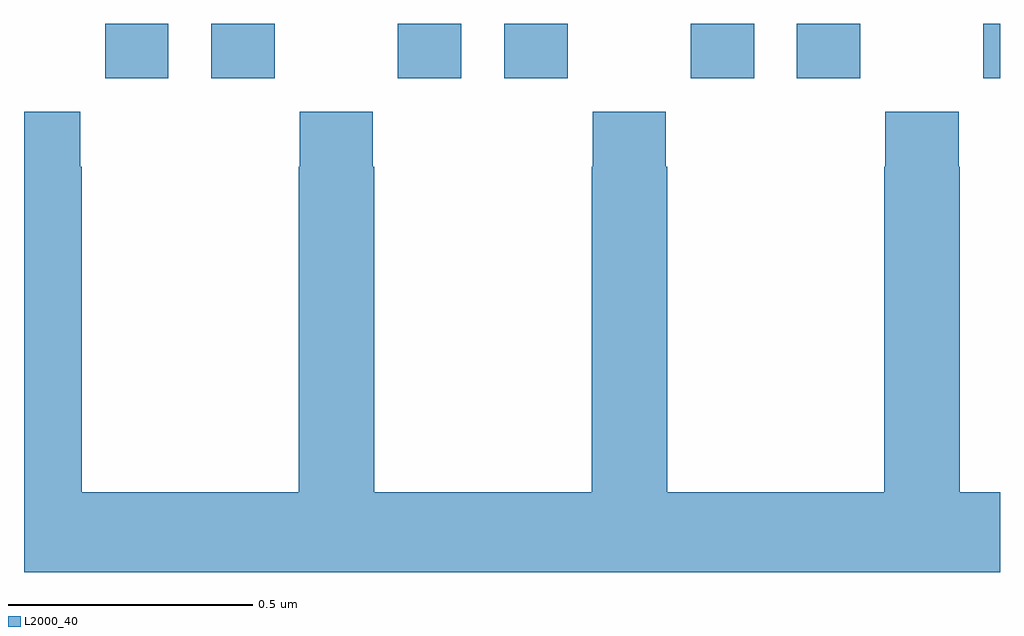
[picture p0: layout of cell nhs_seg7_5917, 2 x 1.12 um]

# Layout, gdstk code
import gdstk
lib = gdstk.Library(unit=1e-6, precision=1e-09)
def R(c, l, rs):  # rectangles x0, y0, x1, y1
    for r in rs: c.add(gdstk.rectangle(r[:2], r[2:], *l))
def P(c, l, *ps):  # polygons
    for p in ps: c.add(gdstk.Polygon(p, *l))
L2000_40 = (2000, 40)

nhs_seg7_5917 = lib.new_cell('nhs_seg7_5917')
R(nhs_seg7_5917, L2000_40, [(191.166,1074.888,191.296,1075), (191.384,1074.888,191.514,1075), (191.766,1074.888,191.896,1075), (191.984,1074.888,192.114,1075), (192.366,1074.888,192.496,1075), (192.584,1074.888,192.714,1075), (192.966,1074.888,193,1075)])
P(nhs_seg7_5917, L2000_40, [(193,1074.04),(192.918,1074.04),(192.918,1074.707),(192.915,1074.707),(192.915,1074.82),(192.765,1074.82),(192.765,1074.707),(192.763,1074.707),(192.763,1074.04),(192.318,1074.04),(192.318,1074.707),(192.315,1074.707),(192.315,1074.82),(192.165,1074.82),(192.165,1074.707),(192.163,1074.707),(192.163,1074.04),(191.718,1074.04),(191.718,1074.707),(191.715,1074.707),(191.715,1074.82),(191.565,1074.82),(191.565,1074.707),(191.563,1074.707),(191.563,1074.04),(191.118,1074.04),(191.118,1074.707),(191.115,1074.707),(191.115,1074.82),(191,1074.82),(191,1073.876),(193,1073.876)])

lib.write_gds('nhs_seg7_5917.gds')
